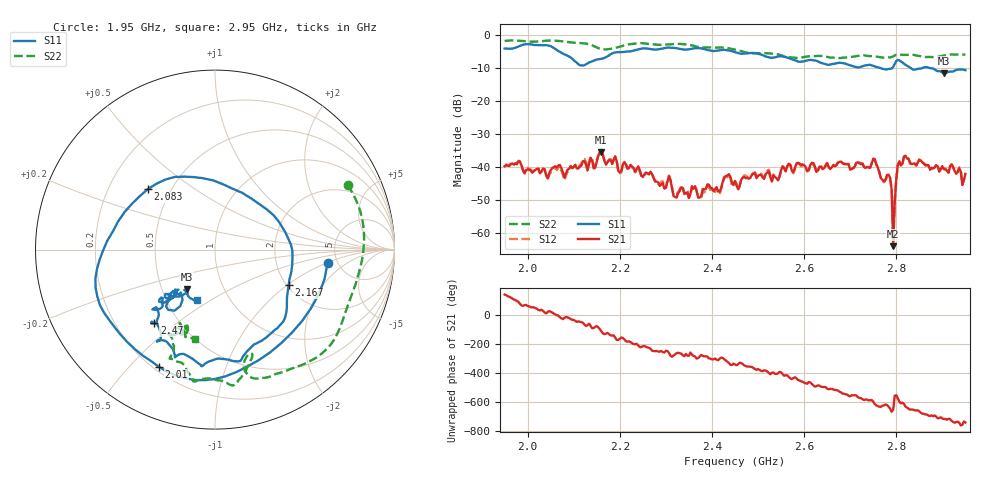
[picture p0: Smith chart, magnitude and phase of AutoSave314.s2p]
!Agilent N9923A: A.07.32
!Date: Thursday, 02 June 2016 23:53:38
!Model: N9923A
!Serial: MY52412257
!GPS Latitude:
!GPS Longitude:
!GPS TimeStamp: 0001-01-01 00:00:00Z
!GPS Seconds Since Last Read: 0
!CHECKSUM:1435363660
!Correction: S11(ON U)S21(ON U)S12(ON U)S22(ON U)
!S2P File: Measurements:S11,S21,S12,S22:
# Hz S DB R 50
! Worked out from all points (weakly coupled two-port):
!   301 points, 1.95 GHz to 2.95 GHz, reference 50 ohm
!   highest |S21| = -35.38 dB at 2.16 GHz (marker M1); lowest = -63.9 dB at 2.793 GHz (marker M2)
!   lowest |S11| = -11.4 dB at 2.903 GHz (marker M3), VSWR 1.74, Z = 33.6 - j16 ohm
!   |S11| at or under -10 dB: 2.768 GHz to 2.79 GHz (22.73 MHz wide, 0.818 % of centre); 2.832 GHz to 2.854 GHz (21.78 MHz wide, 0.766 % of centre); 2.877 GHz to end of sweep
!   |S22| runs from -6.9 to -1.5 dB; largest |S21 - S12| = 0.0014
!   S11 on the Smith chart (normalised r, x): 1.95 GHz: 4.18, -1.01; 2.01 GHz: 0.22, -0.61; 2.083 GHz: 0.37, +0.33; 2.167 GHz: 2.04, -1.03; 2.47 GHz: 0.37, -0.42; 2.95 GHz: 0.71, -0.44
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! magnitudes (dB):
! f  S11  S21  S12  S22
! 1.95 GHz  -4.0  -39.7  -39.8  -1.7
! 2.01 GHz  -2.8  -41.6  -41.2  -1.9
! 2.083 GHz  -6.0  -41.7  -42.3  -2.0
! 2.12 GHz  -9.1  -38.1  -37.5  -2.4
! 2.16 GHz  -7.1  -35.4  -35.0  -4.2
! 2.167 GHz  -6.8  -38.1  -37.9  -4.3
! 2.287 GHz  -4.1  -45.6  -45.1  -2.9
! 2.307 GHz  -3.7  -42.7  -42.5  -2.7
! 2.317 GHz  -3.8  -48.7  -48.5  -2.6
! 2.35 GHz  -4.2  -49.3  -49.1  -2.9
! 2.437 GHz  -4.6  -42.0  -42.2  -3.9
! 2.453 GHz  -5.2  -45.4  -45.1  -4.5
! 2.47 GHz  -5.5  -42.9  -42.5  -5.1
! 2.62 GHz  -7.5  -38.7  -39.1  -6.3
! 2.75 GHz  -9.2  -37.3  -37.3  -6.3
! 2.783 GHz  -10.2  -42.2  -42.3  -6.7
! 2.79 GHz  -10.1  -46.9  -46.8  -6.6
! 2.793 GHz  -9.5  -63.9  -62.1  -6.3
! 2.8 GHz  -7.8  -43.5  -43.7  -5.9
! 2.807 GHz  -7.6  -38.1  -38.4  -5.9
! 2.903 GHz  -11.4  -40.6  -40.5  -6.1
! 2.95 GHz  -10.6  -42.0  -41.9  -5.8
